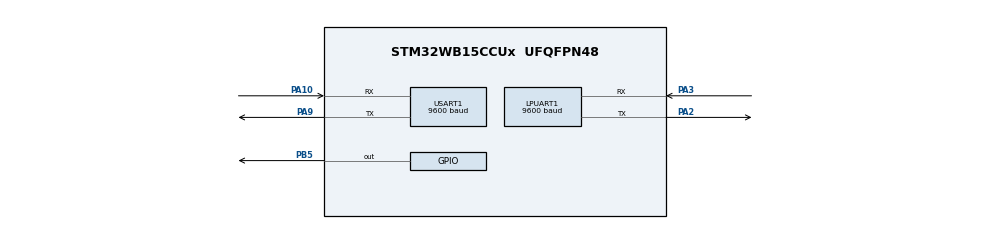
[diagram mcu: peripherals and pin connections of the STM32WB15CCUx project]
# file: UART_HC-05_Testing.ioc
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LPUART1.BaudRate=9600
LPUART1.SwapParam=UART_ADVFEATURE_SWAP_DISABLE
Mcu.Family=STM32WB
Mcu.Name=STM32WB15CCUx
Mcu.Package=UFQFPN48
NVIC.PriorityGroup=NVIC_PRIORITYGROUP_4
PA10.Mode=Asynchronous
PA10.Signal=USART1_RX
PA2.Mode=Asynchronous
PA2.Signal=LPUART1_TX
PA3.Mode=Asynchronous
PA3.Signal=LPUART1_RX
PA9.Mode=Asynchronous
PA9.Signal=USART1_TX
PB5.Signal=GPIO_Output
ProjectManager.HeapSize=0x200
ProjectManager.StackSize=0x400
ProjectManager.TargetToolchain=STM32CubeIDE
RCC.APB3Freq_Value=16000000
RCC.HSE_VALUE=8000000
RCC.HSI_VALUE=16000000
RCC.LSE_VALUE=32768
RCC.VCOOutputFreq_Value=32000000
USART1.BaudRate=9600
USART1.VirtualMode-Asynchronous=VM_ASYNC
board=custom

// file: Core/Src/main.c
/* USER CODE BEGIN Header */
/**
  ******************************************************************************
  * @file           : main.c
  * @brief          : Main program body
  ******************************************************************************
  * @attention
  *
  * Copyright (c) 2022 STMicroelectronics.
  * All rights reserved.
  *
  * This software is licensed under terms that can be found in the LICENSE file
  * in the root directory of this software component.
  * If no LICENSE file comes with this software, it is provided AS-IS.
  *
  ******************************************************************************
  */
/* USER CODE END Header */
#include "main.h"

UART_HandleTypeDef hlpuart1;
UART_HandleTypeDef huart1;

void SystemClock_Config(void);
void PeriphCommonClock_Config(void);
static void MX_GPIO_Init(void);
static void MX_USART1_UART_Init(void);
static void MX_LPUART1_UART_Init(void);

int main(void)
{

  /* MCU Configuration--------------------------------------------------------*/

  /* Reset of all peripherals, Initializes the Flash interface and the Systick. */
  HAL_Init();

  /* Configure the system clock */
  SystemClock_Config();

/* Configure the peripherals common clocks */
  PeriphCommonClock_Config();

  /* Initialize all configured peripherals */
  MX_GPIO_Init();
  MX_USART1_UART_Init();
  MX_LPUART1_UART_Init();
  /* USER CODE BEGIN 2 */
	HAL_GPIO_WritePin(GPIOB, GPIO_PIN_5, GPIO_PIN_SET);
	HAL_Delay(500);
	HAL_GPIO_WritePin(GPIOB, GPIO_PIN_5, GPIO_PIN_RESET);
	HAL_Delay(500);
	HAL_GPIO_WritePin(GPIOB, GPIO_PIN_5, GPIO_PIN_SET);
	HAL_Delay(500);
	HAL_GPIO_WritePin(GPIOB, GPIO_PIN_5, GPIO_PIN_RESET);
	volatile char rcv_buf[30] ="";
  /* USER CODE END 2 */

  /* Infinite loop */
  /* USER CODE BEGIN WHILE */
  while (1)
  {

		if(HAL_UART_Receive(&huart1, rcv_buf, 6, HAL_MAX_DELAY) != HAL_OK)
		{
			Error_Handler();

		}
		else
		{
			HAL_GPIO_TogglePin(GPIOB, GPIO_PIN_5);
		}

		HAL_Delay(5000);

		if(HAL_UART_Transmit(&huart1, (uint8_t*)"Hello!\r\n", 15, HAL_MAX_DELAY) != HAL_OK)
		{
			HAL_GPIO_WritePin(GPIOB, GPIO_PIN_5, GPIO_PIN_SET);
			HAL_Delay(1000);
			HAL_GPIO_WritePin(GPIOB, GPIO_PIN_5, GPIO_PIN_RESET);
			HAL_Delay(1000);
			HAL_GPIO_WritePin(GPIOB, GPIO_PIN_5, GPIO_PIN_SET);
			HAL_Delay(1000);
			HAL_GPIO_WritePin(GPIOB, GPIO_PIN_5, GPIO_PIN_RESET);
		}
		else
		{
			HAL_GPIO_TogglePin(GPIOB, GPIO_PIN_5);
		}

    /* USER CODE END WHILE */

  }
}

void SystemClock_Config(void)
{
  RCC_OscInitTypeDef RCC_OscInitStruct = {0};
  RCC_ClkInitTypeDef RCC_ClkInitStruct = {0};

  /** Initializes the RCC Oscillators according to the specified parameters
  * in the RCC_OscInitTypeDef structure.
  */
  RCC_OscInitStruct.OscillatorType = RCC_OSCILLATORTYPE_HSI|RCC_OSCILLATORTYPE_MSI;
  RCC_OscInitStruct.HSIState = RCC_HSI_ON;
  RCC_OscInitStruct.MSIState = RCC_MSI_ON;
  RCC_OscInitStruct.HSICalibrationValue = RCC_HSICALIBRATION_DEFAULT;
  RCC_OscInitStruct.MSICalibrationValue = RCC_MSICALIBRATION_DEFAULT;
  RCC_OscInitStruct.MSIClockRange = RCC_MSIRANGE_6;
  RCC_OscInitStruct.PLL.PLLState = RCC_PLL_NONE;
  if (HAL_RCC_OscConfig(&RCC_OscInitStruct) != HAL_OK)
  {
    Error_Handler();
  }
  /** Configure the SYSCLKSource, HCLK, PCLK1 and PCLK2 clocks dividers
  */
  RCC_ClkInitStruct.ClockType = RCC_CLOCKTYPE_HCLK4|RCC_CLOCKTYPE_HCLK2
                              |RCC_CLOCKTYPE_HCLK|RCC_CLOCKTYPE_SYSCLK
                              |RCC_CLOCKTYPE_PCLK1|RCC_CLOCKTYPE_PCLK2;
  RCC_ClkInitStruct.SYSCLKSource = RCC_SYSCLKSOURCE_MSI;
  RCC_ClkInitStruct.AHBCLKDivider = RCC_SYSCLK_DIV1;
  RCC_ClkInitStruct.APB1CLKDivider = RCC_HCLK_DIV1;
  RCC_ClkInitStruct.APB2CLKDivider = RCC_HCLK_DIV1;
  RCC_ClkInitStruct.AHBCLK2Divider = RCC_SYSCLK_DIV1;
  RCC_ClkInitStruct.AHBCLK4Divider = RCC_SYSCLK_DIV1;

  if (HAL_RCC_ClockConfig(&RCC_ClkInitStruct, FLASH_LATENCY_0) != HAL_OK)
  {
    Error_Handler();
  }
}

void PeriphCommonClock_Config(void)
{
  RCC_PeriphCLKInitTypeDef PeriphClkInitStruct = {0};

  /** Initializes the peripherals clock
  */
  PeriphClkInitStruct.PeriphClockSelection = RCC_PERIPHCLK_SMPS;
  PeriphClkInitStruct.SmpsClockSelection = RCC_SMPSCLKSOURCE_HSI;
  PeriphClkInitStruct.SmpsDivSelection = RCC_SMPSCLKDIV_RANGE1;

  if (HAL_RCCEx_PeriphCLKConfig(&PeriphClkInitStruct) != HAL_OK)
  {
    Error_Handler();
  }
}

static void MX_LPUART1_UART_Init(void)
{

  hlpuart1.Instance = LPUART1;
  hlpuart1.Init.BaudRate = 9600;
  hlpuart1.Init.WordLength = UART_WORDLENGTH_8B;
  hlpuart1.Init.StopBits = UART_STOPBITS_1;
  hlpuart1.Init.Parity = UART_PARITY_NONE;
  hlpuart1.Init.Mode = UART_MODE_TX_RX;
  hlpuart1.Init.HwFlowCtl = UART_HWCONTROL_NONE;
  hlpuart1.Init.OneBitSampling = UART_ONE_BIT_SAMPLE_DISABLE;
  hlpuart1.Init.ClockPrescaler = UART_PRESCALER_DIV1;
  hlpuart1.AdvancedInit.AdvFeatureInit = UART_ADVFEATURE_NO_INIT;
  hlpuart1.FifoMode = UART_FIFOMODE_DISABLE;
  if (HAL_UART_Init(&hlpuart1) != HAL_OK)
  {
    Error_Handler();
  }
  if (HAL_UARTEx_SetTxFifoThreshold(&hlpuart1, UART_TXFIFO_THRESHOLD_1_8) != HAL_OK)
  {
    Error_Handler();
  }
  if (HAL_UARTEx_SetRxFifoThreshold(&hlpuart1, UART_RXFIFO_THRESHOLD_1_8) != HAL_OK)
  {
    Error_Handler();
  }
  if (HAL_UARTEx_DisableFifoMode(&hlpuart1) != HAL_OK)
  {
    Error_Handler();
  }

}

static void MX_USART1_UART_Init(void)
{

  huart1.Instance = USART1;
  huart1.Init.BaudRate = 9600;
  huart1.Init.WordLength = UART_WORDLENGTH_8B;
  huart1.Init.StopBits = UART_STOPBITS_1;
  huart1.Init.Parity = UART_PARITY_NONE;
  huart1.Init.Mode = UART_MODE_TX_RX;
  huart1.Init.HwFlowCtl = UART_HWCONTROL_NONE;
  huart1.Init.OverSampling = UART_OVERSAMPLING_16;
  huart1.Init.OneBitSampling = UART_ONE_BIT_SAMPLE_DISABLE;
  huart1.Init.ClockPrescaler = UART_PRESCALER_DIV1;
  huart1.AdvancedInit.AdvFeatureInit = UART_ADVFEATURE_NO_INIT;
  if (HAL_UART_Init(&huart1) != HAL_OK)
  {
    Error_Handler();
  }
  if (HAL_UARTEx_SetTxFifoThreshold(&huart1, UART_TXFIFO_THRESHOLD_1_8) != HAL_OK)
  {
    Error_Handler();
  }
  if (HAL_UARTEx_SetRxFifoThreshold(&huart1, UART_RXFIFO_THRESHOLD_1_8) != HAL_OK)
  {
    Error_Handler();
  }
  if (HAL_UARTEx_DisableFifoMode(&huart1) != HAL_OK)
  {
    Error_Handler();
  }

}

static void MX_GPIO_Init(void)
{
  GPIO_InitTypeDef GPIO_InitStruct = {0};

  /* GPIO Ports Clock Enable */
  __HAL_RCC_GPIOA_CLK_ENABLE();
  __HAL_RCC_GPIOB_CLK_ENABLE();

  /*Configure GPIO pin Output Level */
  HAL_GPIO_WritePin(GPIOB, GPIO_PIN_5, GPIO_PIN_RESET);

  /*Configure GPIO pin : PB5 */
  GPIO_InitStruct.Pin = GPIO_PIN_5;
  GPIO_InitStruct.Mode = GPIO_MODE_OUTPUT_PP;
  GPIO_InitStruct.Pull = GPIO_NOPULL;
  GPIO_InitStruct.Speed = GPIO_SPEED_FREQ_LOW;
  HAL_GPIO_Init(GPIOB, &GPIO_InitStruct);

}

void Error_Handler(void)
{
  __disable_irq();
  while (1)
  {
  }
}
